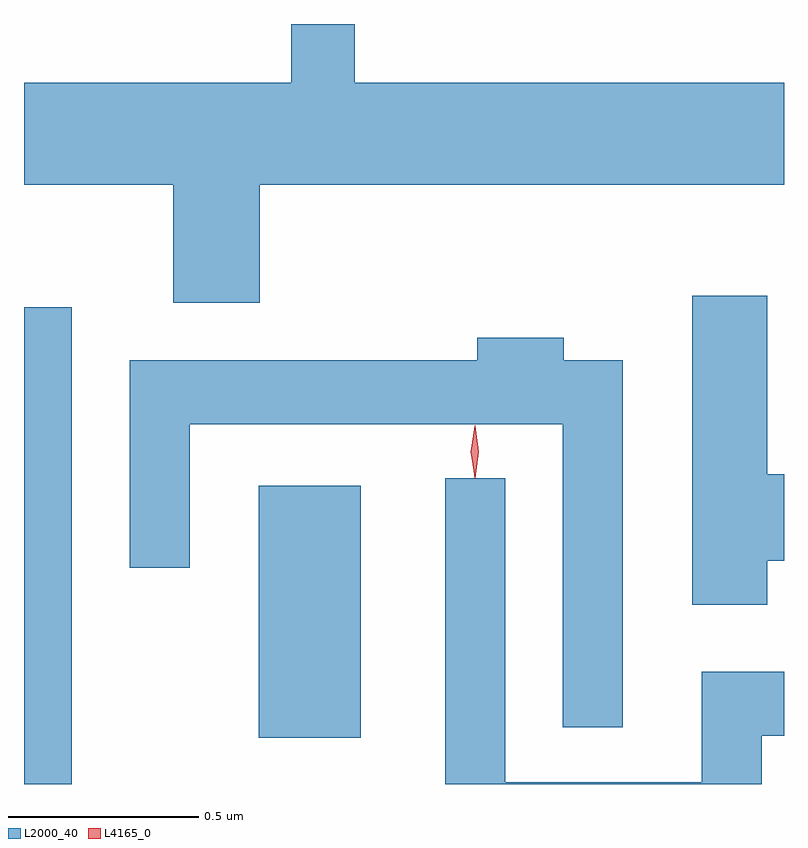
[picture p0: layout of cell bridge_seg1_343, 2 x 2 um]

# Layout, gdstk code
import gdstk
lib = gdstk.Library(unit=1e-6, precision=1e-09)
def R(c, l, rs):  # rectangles x0, y0, x1, y1
    for r in rs: c.add(gdstk.rectangle(r[:2], r[2:], *l))
def P(c, l, *ps):  # polygons
    for p in ps: c.add(gdstk.Polygon(p, *l))
L2000_40 = (2000, 40)
L4165_0 = (4165, 0)

bridge_seg1_343 = lib.new_cell('bridge_seg1_343')
R(bridge_seg1_343, L2000_40, [(906.548,884.679,906.674,885.933), (907.166,884.801,907.434,885.464)])
P(bridge_seg1_343, L2000_40, [(907.169,886.256),(908.548,886.256),(908.548,886.524),(907.419,886.524),(907.419,886.679),(907.251,886.679),(907.251,886.524),(906.548,886.524),(906.548,886.256),(906.941,886.256),(906.941,885.946),(907.169,885.946)],
  [(908.504,885.266),(908.548,885.266),(908.548,885.494),(908.504,885.494),(908.504,885.964),(908.306,885.964),(908.306,885.151),(908.504,885.151)],
  [(908.124,885.794),(907.969,885.794),(907.969,885.854),(907.741,885.854),(907.741,885.794),(906.826,885.794),(906.826,885.248),(906.984,885.248),(906.984,885.626),(907.966,885.626),(907.966,884.828),(908.124,884.828)],
  [(908.489,884.806),(908.548,884.806),(908.548,884.974),(908.331,884.974),(908.331,884.684),(907.814,884.684),(907.814,885.483),(907.656,885.483),(907.656,884.679),(908.489,884.679)])
P(bridge_seg1_343, L4165_0, [(907.734,885.487),(907.734,885.488),(907.724,885.554),(907.734,885.62),(907.734,885.62),(907.735,885.62),(907.744,885.554),(907.735,885.488)],
  [(907.734,885.484),(907.725,885.553),(907.734,885.622),(907.735,885.623),(907.735,885.622),(907.745,885.553),(907.735,885.484),(907.735,885.484)])

lib.write_gds('bridge_seg1_343.gds')
